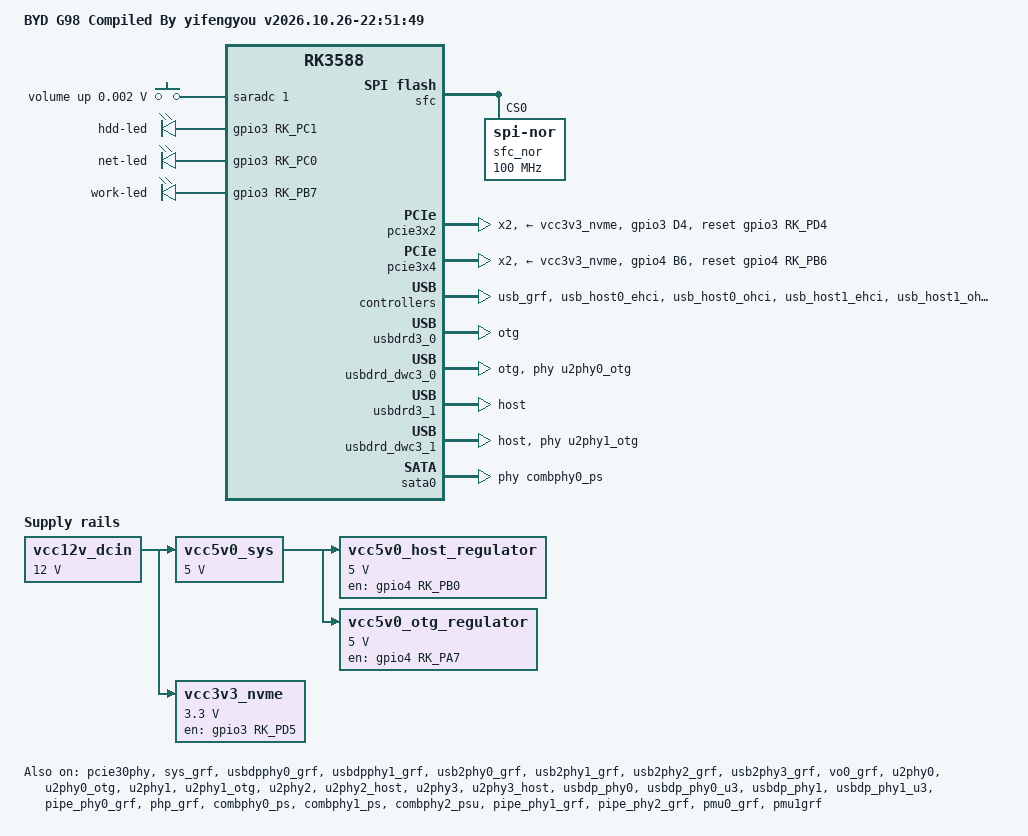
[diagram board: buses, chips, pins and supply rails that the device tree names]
// SPDX-License-Identifier: (GPL-2.0+ OR MIT)
/*
* Copyright (c) 2021 Rockchip Electronics Co., Ltd
*
*/

/dts-v1/;
#include "rk3588.dtsi"
#include "rk3588-u-boot.dtsi"
#include <dt-bindings/input/input.h>

/ {
	model = "BYD G98 Compiled By yifengyou v2026.10.26-22:51:49";
	compatible = "rockchip,rk3588-evb", "rockchip,rk3588";

	chosen {
		stdout-path = &uart2;
		u-boot,spl-boot-order = &spi_nor;
	};

	aliases {
		ethernet0 = &pcie2x1l1;
		ethernet1 = &pcie2x1l0;
		spi0 = &sfc;
	};

	adc-keys {
		compatible = "adc-keys";
		io-channels = <&saradc 1>;
		io-channel-names = "buttons";
		keyup-threshold-microvolt = <1800000>;
		u-boot,dm-pre-reloc;
		status = "okay";

		volumeup-key {
			u-boot,dm-pre-reloc;
			linux,code = <KEY_VOLUMEUP>;
			label = "volume up";
			press-threshold-microvolt = <1750>;
		};
	};
	// rbrom:
	pmu0_grf: syscon@fd588000 {
		compatible = "rockchip,rk3588-pmu0-grf", "syscon", "simple-mfd";
		reg = <0x0 0xfd588000 0x0 0x2000>;
		status = "okay";
		u-boot,dm-pre-reloc;

		reboot_mode: reboot-mode {
			status = "okay";
			compatible = "syscon-reboot-mode";
			offset = <0x80>;
			mode-bootloader = <0x5242c301>;
			mode-charge = <0x5242c30b>;
			mode-fastboot = <0x5242c309>;
			mode-loader = <0x5242c301>;
			mode-normal = <0x5242c300>;
			mode-maskrom = <0xef08a53c>;
			mode-recovery = <0x5242c303>;
			mode-ums = <0x5242c30c>;
			mode-panic = <0x5242c307>;
			mode-watchdog = <0x5242c308>;
			mode-quiescent = <0x5242c30e>;
			mode-winusb = <0x5242c30f>;
			u-boot,dm-pre-reloc;
		};
	};

	pmu1grf: syscon@fd58a000 {
		status = "okay";
		u-boot,dm-pre-reloc;
		compatible = "rockchip,rk3588-pmu1-grf", "syscon";
		reg = <0x00000000 0xfd58a000 0x00000000 0x00002000>;
	};

	// vcc5v0_sys
	vcc5v0_sys: vcc5v0-sys {
		compatible = "regulator-fixed";
		regulator-always-on;
		regulator-boot-on;
		regulator-min-microvolt = <5000000>;
		regulator-max-microvolt = <5000000>;
		regulator-name = "vcc5v0_sys";
		vin-supply = <&vcc12v_dcin>;
		u-boot,dm-pre-reloc;
	};

	// vcc12v_dcin
	vcc12v_dcin: vcc12v-dcin {
		compatible = "regulator-fixed";
		regulator-always-on;
		regulator-boot-on;
		regulator-min-microvolt = <12000000>;
		regulator-max-microvolt = <12000000>;
		regulator-name = "vcc12v_dcin";
		u-boot,dm-pre-reloc;
	};

	// vcc3v3-pcie30
	vcc3v3_nvme: vcc3v3-nvme {
		compatible = "regulator-fixed";
		regulator-min-microvolt = <3300000>;
		regulator-max-microvolt = <3300000>;
		regulator-name = "vcc3v3_nvme";
		vin-supply = <&vcc12v_dcin>;
		enable-active-high;
		gpios = <&gpio3 RK_PD5 GPIO_ACTIVE_HIGH>;
		startup-delay-us = <7500>;
		pinctrl-names = "default";
		pinctrl-0 = <&nvme_power_en>;
		regulator-always-on;
		u-boot,dm-pre-reloc;
	};

	// vcc5v0-host-regulator
	vcc5v0_host_regulator: vcc5v0-host-regulator {
		compatible = "regulator-fixed";
		enable-active-high;
		gpio = <&gpio4 RK_PB0 GPIO_ACTIVE_HIGH>;
		pinctrl-names = "default";
		pinctrl-0 = <&vcc5v0_host_en>;
		regulator-name = "vcc5v0_host";
		regulator-boot-on;
		regulator-always-on;
		regulator-min-microvolt = <5000000>;
		regulator-max-microvolt = <5000000>;
		vin-supply = <&vcc5v0_sys>;
		u-boot,dm-pre-reloc;
	};

	// vcc5v0-otg-regulator
	vcc5v0_otg_regulator: vcc5v0-otg-regulator {
		compatible = "regulator-fixed";
		enable-active-high;
		gpio = <&gpio4 RK_PA7 GPIO_ACTIVE_HIGH>;
		pinctrl-names = "default";
		pinctrl-0 = <&vcc5v0_otg_en>;
		regulator-min-microvolt = <5000000>;
		regulator-max-microvolt = <5000000>;
		regulator-name = "vcc5v0_otg";
		vin-supply = <&vcc5v0_sys>;
		u-boot,dm-pre-reloc;
	};

	leds {
		compatible = "gpio-leds";
		status = "okay";
		u-boot,dm-pre-reloc;

		hdd-led {
			default-state = "off";
			gpios = <&gpio3 RK_PC1 GPIO_ACTIVE_HIGH>;
		};

		net-led {
			default-state = "off";
			gpios = <&gpio3 RK_PC0 GPIO_ACTIVE_HIGH>;
		};

		work-led {
			gpios = <&gpio3 RK_PB7 GPIO_ACTIVE_HIGH>;
			linux,default-trigger = "heartbeat";
		};
	};
};

// sdhci: mmc@fe2e0000
&sdhci {
	status = "disabled";
};

// sdmmc: mmc@fe2c0000
&sdmmc {
	status = "disabled";
	u-boot,dm-pre-reloc;
};

// sdio: mmc@fe2d0000
&sdio {
	status = "disabled";
	u-boot,dm-pre-reloc;
};

// sfc: spi@fe2b0000
&sfc {
	status = "okay";
	u-boot,dm-pre-reloc;

	/delete-node/ flash@1;

	spi_nor: flash@0 {
		status = "okay";
		u-boot,dm-spl;
		compatible = "jedec,spi-nor";
		label = "sfc_nor";
		reg = <0x00>;
		spi-tx-bus-width = <0x01>;
		spi-rx-bus-width = <0x04>;
		spi-max-frequency = <0x5f5e100>;
		spi-4byte-addressing;
		broken-flash-reset;
		u-boot,dm-pre-reloc;
	};

};

/* ===== 关键修复：强制激活 GPIO 控制器 ===== */
/* gpio3: gpio@fec40000 */
&gpio3 {
	status = "okay";
	u-boot,dm-pre-reloc;
};

/* gpio4: gpio@fec50000 */
&gpio4 {
	status = "okay";
	u-boot,dm-pre-reloc;
};

/* ===== Pin Control ===== */
&pinctrl {
	u-boot,dm-pre-reloc;
	hym8563 {
		hym8563_int: hym8563-int {
			rockchip,pins = <0 RK_PB2 RK_FUNC_GPIO &pcfg_pull_up>;
		};
	};

	pcie {
		pcie2_0_rst: pcie2-0-rst {
			rockchip,pins = <1 RK_PB4 RK_FUNC_GPIO &pcfg_pull_none>;
		};

		pcie2_1_rst: pcie2-1-rst {
			rockchip,pins = <4 RK_PA2 RK_FUNC_GPIO &pcfg_pull_none>;
		};

		pcie3x2_rst: pcie3x2-rst {
			rockchip,pins = <3 RK_PD4 RK_FUNC_GPIO &pcfg_pull_none>;
		};

		pcie3x4_rst: pcie3x4-rst {
			rockchip,pins = <4 RK_PB6 RK_FUNC_GPIO &pcfg_pull_none>;
		};
	};

	nvme {
		nvme_power_en: nvme-power-en {
			rockchip,pins = <3 RK_PD5 RK_FUNC_GPIO &pcfg_pull_none>;
		};
	};

	usb {
		vcc5v0_host_en: vcc5v0-host-en {
			rockchip,pins = <4 RK_PB0 RK_FUNC_GPIO &pcfg_pull_none>;
		};

		vcc5v0_otg_en: vcc5v0-otg-en {
			rockchip,pins = <4 RK_PA7 RK_FUNC_GPIO &pcfg_pull_none>;
		};
	};

	sata {
		sata0_pm_reset: sata0-pm-reset {
			rockchip,pins = <0 RK_PD5 RK_FUNC_GPIO &pcfg_output_high>;
		};
	};

	gmac0 {
		u-boot,dm-pre-reloc;
		gmac0-miim { u-boot,dm-pre-reloc; };
		gmac0-rx-bus2 { u-boot,dm-pre-reloc; };
		gmac0-tx-bus2 { u-boot,dm-pre-reloc; };
		gmac0-rgmii-clk { u-boot,dm-pre-reloc; };
		gmac0-rgmii-bus { u-boot,dm-pre-reloc; };
	};

	gmac1 {
		u-boot,dm-pre-reloc;
		gmac1-miim { u-boot,dm-pre-reloc; };
		gmac1-rx-bus2 { u-boot,dm-pre-reloc; };
		gmac1-tx-bus2 { u-boot,dm-pre-reloc; };
		gmac1-rgmii-clk { u-boot,dm-pre-reloc; };
		gmac1-rgmii-bus { u-boot,dm-pre-reloc; };
	};
};

/* RK3588 PCIe 3.0 x4 和 x2 共用此 PHY pcie30phy: phy@fee80000 */
&pcie30phy {
	status = "okay";
	/* PHY_MODE_PCIE_NANBNB 0 = P1:PCIe3x2  +  P0:PCIe3x2 */
	rockchip,pcie30-phymode = <PHY_MODE_PCIE_NANBNB>;
	u-boot,dm-pre-reloc;
};

/* controller1 pcie3x2: pcie@fe160000 (靠近sata口的NVME槽位)*/
&pcie3x2 {
	pinctrl-names = "default";
	pinctrl-0 = <&pcie3x2_rst>;

	num-lanes = <2>;
	max-link-speed = <3>;

	reset-gpios = <&gpio3 RK_PD4 GPIO_ACTIVE_HIGH>;
	vpcie3v3-supply = <&vcc3v3_nvme>;

	rockchip,bifurcation;

	reset-delay-us = <100000>;
	rockchip,phy-init-delay-us = <50000>;

	status = "okay";
	u-boot,dm-pre-reloc;
};

/* controller0 pcie3x4: pcie@fe150000 （靠近CPU的NVME槽位） */
&pcie3x4 {
	pinctrl-names = "default";
	pinctrl-0 = <&pcie3x4_rst>;

	num-lanes = <2>;
	max-link-speed = <3>;

	reset-gpios = <&gpio4 RK_PB6 GPIO_ACTIVE_HIGH>;
	vpcie3v3-supply = <&vcc3v3_nvme>;

	rockchip,bifurcation;
	rockchip,phy-init-delay-us = <50000>;
	reset-delay-us = <100000>;

	status = "okay";
	u-boot,dm-pre-reloc;
};

// gmac0: ethernet@fe1b0000 motorcomm,yt9215
&gmac0 {
	clock_in_out = "output";
	phy-mode = "rgmii-rxid";
	tx_delay = <0x44>;
	pinctrl-0 = <&gmac0_miim &gmac0_tx_bus2 &gmac0_rx_bus2 &gmac0_rgmii_clk &gmac0_rgmii_bus>;
	pinctrl-names = "default";
	snps,reset-active-low;
	snps,reset-delays-us = <0x00 0x4e20 0x186a0>;
	snps,reset-gpio = <&gpio3 RK_PD0 GPIO_ACTIVE_LOW>;
	status = "disabled";
	u-boot,dm-pre-reloc;

	fixed-link {
		full-duplex;
		pause;
		speed = <1000>;
		u-boot,dm-pre-reloc;
	};
	mdio0: mdio {
		compatible = "snps,dwmac-mdio";
		#address-cells = <1>;
		#size-cells = <0>;
		u-boot,dm-pre-reloc;
		status = "okay";
	};
	/*
	gmac0_mtl_rx_setup: rx-queues-config {
		snps,rx-queues-to-use = <1>;
		queue0 {};
	};

	gmac0_mtl_tx_setup: tx-queues-config {
		snps,tx-queues-to-use = <1>;
		queue0 {};
	};
	*/
};

// gmac1: ethernet@fe1c0000 motorcomm,yt9215
&gmac1 {
	clock_in_out = "output";
	phy-mode = "rgmii-rxid";
	tx_delay = <0x42>;
	pinctrl-0 = <&gmac1_miim &gmac1_tx_bus2 &gmac1_rx_bus2 &gmac1_rgmii_clk &gmac1_rgmii_bus>;
	pinctrl-names = "default";
	snps,reset-active-low;
	snps,reset-delays-us = <0x00 0x4e20 0x186a0>;
	snps,reset-gpio = <&gpio4 RK_PB3 GPIO_ACTIVE_LOW>;
	status = "disabled";
	u-boot,dm-pre-reloc;

	fixed-link {
		full-duplex;
		pause;
		speed = <1000>;
		u-boot,dm-pre-reloc;
		status = "okay";
	};

	mdio1: mdio {
		compatible = "snps,dwmac-mdio";
		#address-cells = <1>;
		#size-cells = <0>;
		u-boot,dm-pre-reloc;
		status = "okay";
	};


	/*
	gmac1_mtl_rx_setup: rx-queues-config {
		snps,rx-queues-to-use = <1>;
		queue0 {};
	};

	gmac1_mtl_tx_setup: tx-queues-config {
		snps,tx-queues-to-use = <1>;
		queue0 {};
	};
	*/
};

/* ========== USB3.0 OTG/Device (Type-C) ========== */

&sys_grf { status = "okay"; u-boot,dm-pre-reloc; };
&usb_grf { status = "okay"; u-boot,dm-pre-reloc; };
&usbdpphy0_grf { status = "okay"; u-boot,dm-pre-reloc; };
&usbdpphy1_grf { status = "okay"; u-boot,dm-pre-reloc; };
&usb2phy0_grf { status = "okay"; u-boot,dm-pre-reloc; };
&usb2phy1_grf { status = "okay"; u-boot,dm-pre-reloc; };
&usb2phy2_grf { status = "okay"; u-boot,dm-pre-reloc; };
&usb2phy3_grf { status = "okay"; u-boot,dm-pre-reloc; };
&vo0_grf { status = "okay"; u-boot,dm-pre-reloc; };


&u2phy0 { status = "okay"; u-boot,dm-pre-reloc; };
&u2phy0_otg {
	phy-supply = <&vcc5v0_otg_regulator>;
	status = "okay";
	u-boot,dm-pre-reloc;
};

&u2phy1 { status = "okay"; u-boot,dm-pre-reloc; };
&u2phy1_otg {
	phy-supply = <&vcc5v0_host_regulator>;
	status = "okay";
	u-boot,dm-pre-reloc;
};

&u2phy2 { status = "okay"; u-boot,dm-pre-reloc; };
&u2phy2_host {
	phy-supply = <&vcc5v0_host_regulator>;
	status = "okay";
	u-boot,dm-pre-reloc;
};

&u2phy3 { status = "okay"; u-boot,dm-pre-reloc; };
&u2phy3_host {
	phy-supply = <&vcc5v0_host_regulator>;
	status = "okay";
	u-boot,dm-pre-reloc;
};

/* ====== 3. USBDP Combo PHY (USB3) ====== */
&usbdp_phy0 {
	status = "okay";
	u-boot,dm-pre-reloc;
};

&usbdp_phy0_u3 {
	#phy-cells = <0>;
	maximum-speed = "high-speed";
	status = "okay";
	u-boot,dm-pre-reloc;
};

&usbdp_phy1 {
	status = "okay";
	u-boot,dm-pre-reloc;
};

&usbdp_phy1_u3 {
	#phy-cells = <0>;
	maximum-speed = "high-speed";
	status = "okay";
	u-boot,dm-pre-reloc;
};

/* ====== 4. DWC3 控制器 ★ 关键修复：添加 USB3 PHY 引用 ====== */
&usbdrd3_0 {
	status = "okay";
	dr_mode = "otg";
	u-boot,dm-pre-reloc;
};

&usbdrd_dwc3_0 {
	dr_mode = "otg";
	maximum-speed = "super-speed";
	/* ★ 覆盖 SoC dtsi 中的 phys，同时绑定 USB2 + USB3 PHY */
	phys = <&u2phy0_otg>, <&usbdp_phy0_u3>;
	phy-names = "usb2-phy", "usb3-phy";
	status = "okay";
	u-boot,dm-pre-reloc;
};

&usbdrd3_1 {
	status = "okay";
	dr_mode = "host";
	u-boot,dm-pre-reloc;
};

&usbdrd_dwc3_1 {
	dr_mode = "host";
	maximum-speed = "super-speed";
	/* ★ 覆盖 SoC dtsi 中的 phys，同时绑定 USB2 + USB3 PHY */
	phys = <&u2phy1_otg>, <&usbdp_phy1_u3>;
	phy-names = "usb2-phy", "usb3-phy";
	status = "okay";
	u-boot,dm-pre-reloc;
};

/* ====== 5. EHCI/OHCI (USB2.0) ====== */
&usb_host0_ehci { status = "okay"; u-boot,dm-pre-reloc; };
&usb_host0_ohci { status = "okay"; u-boot,dm-pre-reloc; };
&usb_host1_ehci { status = "okay"; u-boot,dm-pre-reloc; };
&usb_host1_ohci { status = "okay"; u-boot,dm-pre-reloc; };

/* ====== 6. 禁用不用的控制器 ====== */
&usbhost3_0 { status = "disabled"; };


/* ====== 补充修复：强制启用 u-boot.dtsi 中遗漏的 GRF 和 PHY ====== */

/* vo0_grf 是 usbdp_phy 的硬性依赖，必须 dm-pre-reloc */
&vo0_grf {
	status = "okay";
	u-boot,dm-pre-reloc;
};

/* usbdpphy1_grf 在 u-boot.dtsi 中完全缺失 */
&usbdpphy1_grf {
	status = "okay";
	u-boot,dm-pre-reloc;
};

/* usb2phy1/2/3_grf 在 u-boot.dtsi 中完全缺失 */
&usb2phy1_grf {
	status = "okay";
	u-boot,dm-pre-reloc;
};

&usb2phy2_grf {
	status = "okay";
	u-boot,dm-pre-reloc;
};

&usb2phy3_grf {
	status = "okay";
	u-boot,dm-pre-reloc;
};

/* usbdp_phy1 及其子节点在 u-boot.dtsi 中完全缺失 */
&usbdp_phy1 {
	status = "okay";
	u-boot,dm-pre-reloc;
};

&usbdp_phy1_u3 {
	#phy-cells = <0>;
	maximum-speed = "high-speed";
	status = "okay";
	u-boot,dm-pre-reloc;
};

/* ====== SATA 完整适配 - BYD G98 (已修正) ====== */

/* pipe_phy0_grf 是 syscon，保持原始 compatible 不变 */
&pipe_phy0_grf {
	status = "okay";
	u-boot,dm-pre-reloc;
};

&php_grf {
	status = "okay";
	u-boot,dm-pre-reloc;
};

&combphy0_ps {
	pinctrl-0 = <&sata0_pm_reset>;
	pinctrl-names = "default";
	phy-type = <PHY_TYPE_SATA>;
	status = "okay";
	u-boot,dm-pre-reloc;
	rockchip,pipe-phy-grf = <&pipe_phy0_grf>;
};

/* SATA 控制器 sata@fe210000 */
&sata0 {
	status = "okay";
	phys = <&combphy0_ps PHY_TYPE_SATA>;
	phy-names = "sata-phy";
	u-boot,dm-pre-reloc;
};

&gpio0 {
	status = "okay";
	u-boot,dm-pre-reloc;
};

&sata1 {
	status = "disabled";
	u-boot,dm-pre-reloc;
};


/* ===== Switch ===== */
&mdio0 {
	status = "okay";

	yt9215_0: switch@1d {
		compatible = "motorcomm,yt9215";
		reg = <29>;
		switchid = <1>;

		ethernet-ports {
			#address-cells = <1>;
			#size-cells = <0>;

			ethernet-port@0 {
				reg = <0>;
				label = "lan1";
				phy-mode = "internal";
			};

			ethernet-port@1 {
				reg = <1>;
				label = "lan2";
				phy-mode = "internal";
			};

			ethernet-port@2 {
				reg = <2>;
				label = "lan3";
				phy-mode = "internal";
			};

			ethernet-port@3 {
				reg = <3>;
				label = "lan4";
				phy-mode = "internal";
			};

			ethernet-port@4 {
				reg = <4>;
				label = "lan5";
				phy-mode = "internal";
			};

			ethernet-port@9 {
				reg = <9>;
				phy-mode = "rgmii";          // 或 rgmii-id
				ethernet = <&gmac0>;
				fixed-link {
					speed = <1000>;
					full-duplex;
				};
			};
		};
	};
};

&mdio1 {
	status = "okay";
	u-boot,dm-pre-reloc;

	yt9215_1: switch@1d {
		compatible = "motorcomm,yt9215";
		reg = <29>;
		switchid = <0>;

		ethernet-ports {
			#address-cells = <1>;
			#size-cells = <0>;

			ethernet-port@0 {
				reg = <0>;
				label = "lan5";
				phy-mode = "internal";
			};

			ethernet-port@1 {
				reg = <1>;
				label = "lan6";
				phy-mode = "internal";
			};

			ethernet-port@2 {
				reg = <2>;
				label = "lan7";
				phy-mode = "internal";
			};

			ethernet-port@3 {
				reg = <3>;
				label = "lan8";
				phy-mode = "internal";
			};

			ethernet-port@4 {
				reg = <4>;
				label = "lan9";
				phy-mode = "internal";
			};

			ethernet-port@9 {
				reg = <9>;
				phy-mode = "rgmii";
				ethernet = <&gmac1>;
				fixed-link {
					speed = <1000>;
					full-duplex;
				};
			};
		};
	};
};

/* ===== 2.5G ethernet ===== */
// phy: phy@fee10000
&combphy1_ps {
	status = "okay";
	u-boot,dm-pre-reloc;
};

/* pcie2x1l1 使用 combphy2_psu */
&combphy2_psu {
	status = "okay";
	u-boot,dm-pre-reloc;
};

/* ===== 2.5G ethernet (RTL8168 via PCIe) ===== */
&pipe_phy1_grf {
	status = "okay";
	u-boot,dm-pre-reloc;
};

&pipe_phy2_grf {
	status = "okay";
	u-boot,dm-pre-reloc;
};

// pcie2x1l1: pcie@fe180000 RTL8125 2.5G网卡
&pcie2x1l1 {
	pinctrl-names = "default";
	pinctrl-0 = <&pcie2_1_rst>;
	supports-clkreq;
	reset-gpios = <&gpio4 RK_PA2 GPIO_ACTIVE_HIGH>;
	vpcie3v3-supply = <&vcc3v3_nvme>;

	/* ★ 新增：显式声明 PHY 绑定，防止驱动找不到 */
	phys = <&combphy2_psu PHY_TYPE_PCIE>;
	phy-names = "pcie-phy";

	/* ★ 新增：确保复位释放后有足够的建立时间 */
	/* RTL8168 要求 PERST# 释放后至少 100ms 才能开始 LTSSM */
	reset-delay-us = <100000>;

	status = "disabled";
	u-boot,dm-pre-reloc;
};

// pcie2x1l0: pcie@fe170000 RTL8125 2.5G网卡
&pcie2x1l0 {
	pinctrl-names = "default";
	pinctrl-0 = <&pcie2_0_rst>;
	supports-clkreq;
	reset-gpios = <&gpio1 RK_PB4 GPIO_ACTIVE_HIGH>;
	vpcie3v3-supply = <&vcc3v3_nvme>;

	/* ★ 新增：显式声明 PHY 绑定 */
	phys = <&combphy1_ps PHY_TYPE_PCIE>;
	phy-names = "pcie-phy";

	/* ★ 新增：复位建立时间 */
	reset-delay-us = <100000>;

	status = "disabled";
	u-boot,dm-pre-reloc;
};

